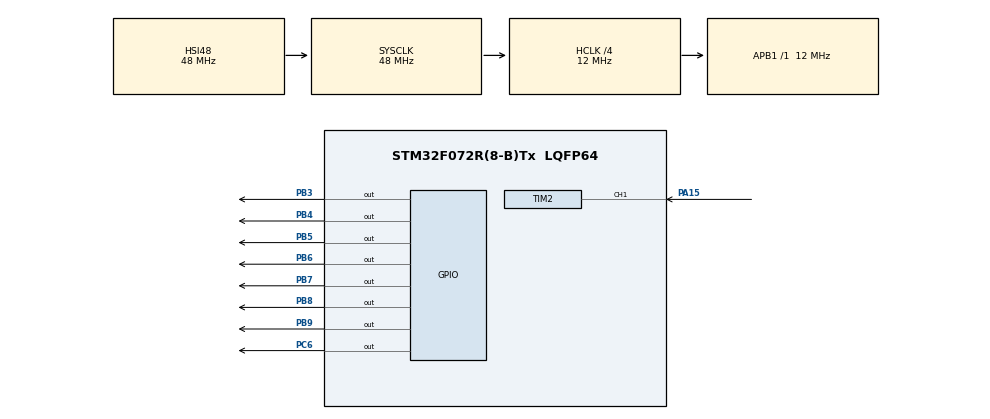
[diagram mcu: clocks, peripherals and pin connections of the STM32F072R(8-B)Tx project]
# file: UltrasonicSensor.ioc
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Mcu.Family=STM32F0
Mcu.Name=STM32F072R(8-B)Tx
Mcu.Package=LQFP64
NVIC.TIM2_IRQn=true\:0\:0\:false\:false\:true\:true\:true\:true
NVIC.TIM3_IRQn=true\:0\:0\:false\:false\:true\:true\:true\:true
PA15.Signal=S_TIM2_CH1_ETR
PB3.Signal=GPIO_Output
PB4.Signal=GPIO_Output
PB5.Signal=GPIO_Output
PB6.Signal=GPIO_Output
PB7.Signal=GPIO_Output
PB8.Signal=GPIO_Output
PB9.Signal=GPIO_Output
PC6.Signal=GPIO_Output
ProjectManager.HeapSize=0x200
ProjectManager.StackSize=0x400
ProjectManager.TargetToolchain=STM32CubeIDE
RCC.AHBCLKDivider=RCC_SYSCLK_DIV4
RCC.AHBFreq_Value=12000000
RCC.APB1Freq_Value=12000000
RCC.APB1TimFreq_Value=12000000
RCC.HCLKFreq_Value=12000000
RCC.SYSCLKFreq_VALUE=48000000
RCC.SYSCLKSource=RCC_SYSCLKSOURCE_HSI48
SH.S_TIM2_CH1_ETR.0=TIM2_CH1,Input_Capture1_from_TI1
TIM2.Channel-Input_Capture1_from_TI1=TIM_CHANNEL_1
TIM2.Prescaler=12-1
TIM3.Period=1
TIM3.Prescaler=50000
VP_TIM2_VS_ClockSourceINT.Mode=Internal
VP_TIM3_VS_ClockSourceINT.Mode=Internal
board=custom

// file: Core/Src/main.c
/* USER CODE BEGIN Header */
/**
  ******************************************************************************
  * @file           : main.c
  * @brief          : Main program body
  ******************************************************************************
  * @attention
  *
  * Copyright (c) 2023 STMicroelectronics.
  * All rights reserved.
  *
  * This software is licensed under terms that can be found in the LICENSE file
  * in the root directory of this software component.
  * If no LICENSE file comes with this software, it is provided AS-IS.
  *
  ******************************************************************************
  */
/* USER CODE END Header */
#include "main.h"

/* USER CODE BEGIN Includes */
#include "stm32f0xx_it.h"
/* USER CODE END Includes */

TIM_HandleTypeDef htim2;
TIM_HandleTypeDef htim3;

/* USER CODE BEGIN PV */
volatile uint8_t IsFirstCaptured = 0;
volatile uint32_t RisingEdgeVal, FallingEdgeVal, Diff;
uint16_t distance;
/* USER CODE END PV */

void SystemClock_Config(void);
static void MX_GPIO_Init(void);
static void MX_TIM2_Init(void);
static void MX_TIM3_Init(void);

/* USER CODE BEGIN 0 */
void HAL_TIM_IC_CaptureCallback(TIM_HandleTypeDef *htim){
	if(htim->Channel == HAL_TIM_ACTIVE_CHANNEL_1){
		if(!IsFirstCaptured){
			RisingEdgeVal = __HAL_TIM_GET_COUNTER(&htim2);
			__HAL_TIM_SET_CAPTUREPOLARITY(&htim2, TIM_CHANNEL_1, TIM_INPUTCHANNELPOLARITY_FALLING);
			IsFirstCaptured=1;
		}else if(IsFirstCaptured){
			FallingEdgeVal = __HAL_TIM_GET_COUNTER(&htim2);
			if(RisingEdgeVal > FallingEdgeVal){
				Diff = (0xFFFFFFFF - RisingEdgeVal) + FallingEdgeVal;
			}
			Diff = FallingEdgeVal - RisingEdgeVal;
			distance = (Diff/2)*0.034;
			IsFirstCaptured=0;
			__HAL_TIM_SET_CAPTUREPOLARITY(&htim2, TIM_CHANNEL_1, TIM_INPUTCHANNELPOLARITY_RISING);
			__HAL_TIM_SET_COUNTER(&htim2, 0);
		}
	}
}
void delay10us(void){
	uint32_t prevTime = __HAL_TIM_GET_COUNTER(&htim2);
	while((__HAL_TIM_GET_COUNTER(&htim2)-prevTime)<10);
}
void setDistanceToDisplay(void){
	HAL_GPIO_WritePin(GPIOC, GPIO_PIN_6, GPIO_PIN_SET);
	delay10us();
	HAL_GPIO_WritePin(GPIOC, GPIO_PIN_6, GPIO_PIN_RESET);
	set_display(distance);
}

/* USER CODE END 0 */

int main(void)
{

  /* MCU Configuration--------------------------------------------------------*/

  /* Reset of all peripherals, Initializes the Flash interface and the Systick. */
  HAL_Init();

  /* Configure the system clock */
  SystemClock_Config();

  /* Initialize all configured peripherals */
  MX_GPIO_Init();
  MX_TIM2_Init();
  MX_TIM3_Init();
  /* USER CODE BEGIN 2 */

  HAL_TIM_Base_Start(&htim2);
  HAL_TIM_IC_Start_IT(&htim2, TIM_CHANNEL_1);
  HAL_TIM_Base_Start_IT(&htim3);
  /* USER CODE END 2 */

  /* Infinite loop */
  while (1)
  {

    /* USER CODE BEGIN 3 */
	  setDistanceToDisplay();
	  HAL_Delay(300);
  }
  /* USER CODE END 3 */
}

void SystemClock_Config(void)
{
  RCC_OscInitTypeDef RCC_OscInitStruct = {0};
  RCC_ClkInitTypeDef RCC_ClkInitStruct = {0};

  /** Initializes the RCC Oscillators according to the specified parameters
  * in the RCC_OscInitTypeDef structure.
  */
  RCC_OscInitStruct.OscillatorType = RCC_OSCILLATORTYPE_HSI48;
  RCC_OscInitStruct.HSI48State = RCC_HSI48_ON;
  RCC_OscInitStruct.PLL.PLLState = RCC_PLL_NONE;
  if (HAL_RCC_OscConfig(&RCC_OscInitStruct) != HAL_OK)
  {
    Error_Handler();
  }

  /** Initializes the CPU, AHB and APB buses clocks
  */
  RCC_ClkInitStruct.ClockType = RCC_CLOCKTYPE_HCLK|RCC_CLOCKTYPE_SYSCLK
                              |RCC_CLOCKTYPE_PCLK1;
  RCC_ClkInitStruct.SYSCLKSource = RCC_SYSCLKSOURCE_HSI48;
  RCC_ClkInitStruct.AHBCLKDivider = RCC_SYSCLK_DIV4;
  RCC_ClkInitStruct.APB1CLKDivider = RCC_HCLK_DIV1;

  if (HAL_RCC_ClockConfig(&RCC_ClkInitStruct, FLASH_LATENCY_1) != HAL_OK)
  {
    Error_Handler();
  }
}

static void MX_TIM2_Init(void)
{

  TIM_ClockConfigTypeDef sClockSourceConfig = {0};
  TIM_MasterConfigTypeDef sMasterConfig = {0};
  TIM_IC_InitTypeDef sConfigIC = {0};

  htim2.Instance = TIM2;
  htim2.Init.Prescaler = 12-1;
  htim2.Init.CounterMode = TIM_COUNTERMODE_UP;
  htim2.Init.Period = 4294967295;
  htim2.Init.ClockDivision = TIM_CLOCKDIVISION_DIV1;
  htim2.Init.AutoReloadPreload = TIM_AUTORELOAD_PRELOAD_DISABLE;
  if (HAL_TIM_Base_Init(&htim2) != HAL_OK)
  {
    Error_Handler();
  }
  sClockSourceConfig.ClockSource = TIM_CLOCKSOURCE_INTERNAL;
  if (HAL_TIM_ConfigClockSource(&htim2, &sClockSourceConfig) != HAL_OK)
  {
    Error_Handler();
  }
  if (HAL_TIM_IC_Init(&htim2) != HAL_OK)
  {
    Error_Handler();
  }
  sMasterConfig.MasterOutputTrigger = TIM_TRGO_RESET;
  sMasterConfig.MasterSlaveMode = TIM_MASTERSLAVEMODE_DISABLE;
  if (HAL_TIMEx_MasterConfigSynchronization(&htim2, &sMasterConfig) != HAL_OK)
  {
    Error_Handler();
  }
  sConfigIC.ICPolarity = TIM_INPUTCHANNELPOLARITY_RISING;
  sConfigIC.ICSelection = TIM_ICSELECTION_DIRECTTI;
  sConfigIC.ICPrescaler = TIM_ICPSC_DIV1;
  sConfigIC.ICFilter = 0;
  if (HAL_TIM_IC_ConfigChannel(&htim2, &sConfigIC, TIM_CHANNEL_1) != HAL_OK)
  {
    Error_Handler();
  }

}

static void MX_TIM3_Init(void)
{

  TIM_ClockConfigTypeDef sClockSourceConfig = {0};
  TIM_MasterConfigTypeDef sMasterConfig = {0};

  htim3.Instance = TIM3;
  htim3.Init.Prescaler = 50000;
  htim3.Init.CounterMode = TIM_COUNTERMODE_UP;
  htim3.Init.Period = 1;
  htim3.Init.ClockDivision = TIM_CLOCKDIVISION_DIV1;
  htim3.Init.AutoReloadPreload = TIM_AUTORELOAD_PRELOAD_DISABLE;
  if (HAL_TIM_Base_Init(&htim3) != HAL_OK)
  {
    Error_Handler();
  }
  sClockSourceConfig.ClockSource = TIM_CLOCKSOURCE_INTERNAL;
  if (HAL_TIM_ConfigClockSource(&htim3, &sClockSourceConfig) != HAL_OK)
  {
    Error_Handler();
  }
  sMasterConfig.MasterOutputTrigger = TIM_TRGO_RESET;
  sMasterConfig.MasterSlaveMode = TIM_MASTERSLAVEMODE_DISABLE;
  if (HAL_TIMEx_MasterConfigSynchronization(&htim3, &sMasterConfig) != HAL_OK)
  {
    Error_Handler();
  }

}

static void MX_GPIO_Init(void)
{
  GPIO_InitTypeDef GPIO_InitStruct = {0};

  /* GPIO Ports Clock Enable */
  __HAL_RCC_GPIOC_CLK_ENABLE();
  __HAL_RCC_GPIOA_CLK_ENABLE();
  __HAL_RCC_GPIOB_CLK_ENABLE();

  /*Configure GPIO pin Output Level */
  HAL_GPIO_WritePin(GPIOC, GPIO_PIN_6, GPIO_PIN_RESET);

  /*Configure GPIO pin Output Level */
  HAL_GPIO_WritePin(GPIOB, GPIO_PIN_3|GPIO_PIN_4|GPIO_PIN_5|GPIO_PIN_6
                          |GPIO_PIN_7|GPIO_PIN_8|GPIO_PIN_9, GPIO_PIN_RESET);

  /*Configure GPIO pin : PC6 */
  GPIO_InitStruct.Pin = GPIO_PIN_6;
  GPIO_InitStruct.Mode = GPIO_MODE_OUTPUT_PP;
  GPIO_InitStruct.Pull = GPIO_NOPULL;
  GPIO_InitStruct.Speed = GPIO_SPEED_FREQ_LOW;
  HAL_GPIO_Init(GPIOC, &GPIO_InitStruct);

  /*Configure GPIO pins : PB3 PB4 PB5 PB6
                           PB7 PB8 PB9 */
  GPIO_InitStruct.Pin = GPIO_PIN_3|GPIO_PIN_4|GPIO_PIN_5|GPIO_PIN_6
                          |GPIO_PIN_7|GPIO_PIN_8|GPIO_PIN_9;
  GPIO_InitStruct.Mode = GPIO_MODE_OUTPUT_PP;
  GPIO_InitStruct.Pull = GPIO_NOPULL;
  GPIO_InitStruct.Speed = GPIO_SPEED_FREQ_LOW;
  HAL_GPIO_Init(GPIOB, &GPIO_InitStruct);

}

void Error_Handler(void)
{
  __disable_irq();
  while (1)
  {
  }
}
